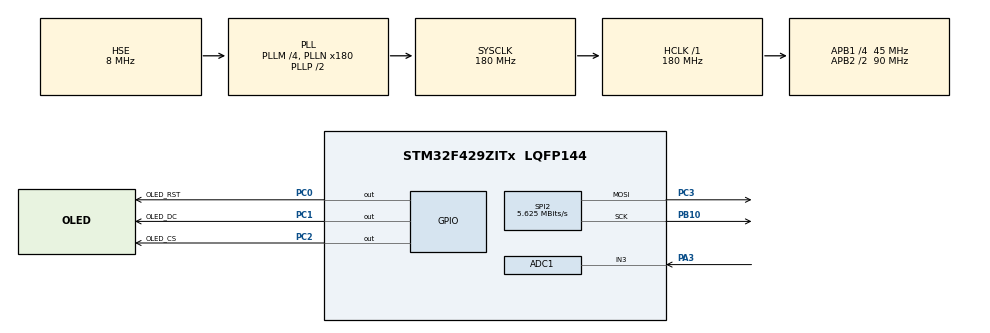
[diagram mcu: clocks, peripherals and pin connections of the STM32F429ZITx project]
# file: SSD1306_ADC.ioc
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ADC1.Channel-0\#ChannelRegularConversion=ADC_CHANNEL_3
ADC1.DiscontinuousConvMode=ENABLE
ADC1.NbrOfConversionFlag=1
ADC1.Rank-0\#ChannelRegularConversion=1
ADC1.SamplingTime-0\#ChannelRegularConversion=ADC_SAMPLETIME_3CYCLES
ADC1.ScanConvMode=ENABLE
ADC1.master=1
Mcu.Family=STM32F4
Mcu.Name=STM32F429ZITx
Mcu.Package=LQFP144
NVIC.PriorityGroup=NVIC_PRIORITYGROUP_4
PA3.Signal=ADCx_IN3
PB10.Mode=TX_Only_Simplex_Unidirect_Master
PB10.Signal=SPI2_SCK
PC0.GPIO_Label=OLED_RST
PC0.GPIO_PuPd=GPIO_PULLUP
PC0.GPIO_Speed=GPIO_SPEED_FREQ_HIGH
PC0.PinState=GPIO_PIN_SET
PC0.Signal=GPIO_Output
PC1.GPIO_Label=OLED_DC
PC1.GPIO_PuPd=GPIO_PULLUP
PC1.GPIO_Speed=GPIO_SPEED_FREQ_HIGH
PC1.PinState=GPIO_PIN_SET
PC1.Signal=GPIO_Output
PC2.GPIO_Label=OLED_CS
PC2.GPIO_PuPd=GPIO_PULLUP
PC2.GPIO_Speed=GPIO_SPEED_FREQ_HIGH
PC2.PinState=GPIO_PIN_SET
PC2.Signal=GPIO_Output
PC3.Mode=TX_Only_Simplex_Unidirect_Master
PC3.Signal=SPI2_MOSI
PH0/OSC_IN.Mode=HSE-External-Oscillator
PH0/OSC_IN.Signal=RCC_OSC_IN
PH1/OSC_OUT.Mode=HSE-External-Oscillator
PH1/OSC_OUT.Signal=RCC_OSC_OUT
ProjectManager.HeapSize=0x200
ProjectManager.StackSize=0x400
ProjectManager.TargetToolchain=STM32CubeIDE
RCC.48MHZClocksFreq_Value=90000000
RCC.AHBFreq_Value=180000000
RCC.APB1CLKDivider=RCC_HCLK_DIV4
RCC.APB1Freq_Value=45000000
RCC.APB1TimFreq_Value=90000000
RCC.APB2CLKDivider=RCC_HCLK_DIV2
RCC.APB2Freq_Value=90000000
RCC.APB2TimFreq_Value=180000000
RCC.CortexFreq_Value=180000000
RCC.HCLKFreq_Value=180000000
RCC.HSE_VALUE=8000000
RCC.HSI_VALUE=16000000
RCC.LSE_VALUE=32768
RCC.PLLM=4
RCC.PLLN=180
RCC.PLLSourceVirtual=RCC_PLLSOURCE_HSE
RCC.SYSCLKFreq_VALUE=180000000
RCC.SYSCLKSource=RCC_SYSCLKSOURCE_PLLCLK
RCC.VCOOutputFreq_Value=360000000
SH.ADCx_IN3.0=ADC1_IN3,IN3
SPI2.BaudRatePrescaler=SPI_BAUDRATEPRESCALER_8
SPI2.CalculateBaudRate=5.625 MBits/s
SPI2.Direction=SPI_DIRECTION_2LINES
SPI2.Mode=SPI_MODE_MASTER
SPI2.VirtualType=VM_MASTER
board=custom

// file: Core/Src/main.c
/* USER CODE BEGIN Header */
/**
  ******************************************************************************
  * @file           : main.c
  * @brief          : Main program body
  ******************************************************************************
  * @attention
  *
  * Copyright (c) 2023 STMicroelectronics.
  * All rights reserved.
  *
  * This software is licensed under terms that can be found in the LICENSE file
  * in the root directory of this software component.
  * If no LICENSE file comes with this software, it is provided AS-IS.
  *
  ******************************************************************************
  */
/* USER CODE END Header */
#include "main.h"

/* USER CODE BEGIN Includes */
#include "stm32f4xx_hal.h"

#include "u8g2.h"

#include "stdio.h"
#include "string.h"
#include "stdlib.h"
/* USER CODE END Includes */

ADC_HandleTypeDef hadc1;

SPI_HandleTypeDef hspi2;

/* USER CODE BEGIN PV */
typedef struct _point
  {
	  int x;
	  int y;
  }Point;

  Point point[128];
  float adcVal=0;
  int i=1;
  uint8_t buffer[5];

/* USER CODE END PV */

void SystemClock_Config(void);
static void MX_GPIO_Init(void);
static void MX_ADC1_Init(void);
static void MX_SPI2_Init(void);

/* USER CODE BEGIN 0 */
extern uint8_t u8x8_stm32_gpio_and_delay(u8x8_t *u8x8, uint8_t msg, uint8_t arg_int, void *arg_ptr);
extern uint8_t u8x8_byte_stm32_hw_spi(u8x8_t *u8x8, uint8_t msg, uint8_t arg_int, void *arg_ptr);

static u8g2_t u8g2;
/* USER CODE END 0 */

int main(void)
{

  /* MCU Configuration--------------------------------------------------------*/

  /* Reset of all peripherals, Initializes the Flash interface and the Systick. */
  HAL_Init();

  /* Configure the system clock */
  SystemClock_Config();

  /* Initialize all configured peripherals */
  MX_GPIO_Init();
  MX_ADC1_Init();
  MX_SPI2_Init();
  /* USER CODE BEGIN 2 */
  u8g2_Setup_ssd1306_128x64_noname_f(&u8g2, U8G2_R0, u8x8_byte_stm32_hw_spi, u8x8_stm32_gpio_and_delay);

   u8g2_InitDisplay(&u8g2);
   u8g2_SetPowerSave(&u8g2, 0);
  /* USER CODE END 2 */

  /* Infinite loop */
   point[0].x=0;
     point[0].y=127;
  /* USER CODE BEGIN WHILE */
  while (1)
  {
	  u8g2_FirstPage(&u8g2);
	  point[0].x=0;
	  point[0].y=point[127].y;

	  do{
		  HAL_ADC_Start(&hadc1);
		  HAL_ADC_PollForConversion(&hadc1,HAL_MAX_DELAY);
		  adcVal = HAL_ADC_GetValue(&hadc1);

		  float voltage_y=adcVal*3.3/4096.0;
		  int char_y=100.0*voltage_y;
		  int hundred_y=char_y/100;
		  int ten_y=char_y/10-(hundred_y*10);
		  int one_y=char_y-hundred_y*100-ten_y*10;

		  buffer[0]='0'+hundred_y;
		  buffer[1]='.';
		  buffer[2]='0'+ten_y;
		  buffer[3]='0'+one_y;

		  u8g2_SetFont(&u8g2,u8g2_font_5x7_tr);
		  u8g2_DrawStrX2(&u8g2,0,15,buffer);

		  int pixel_y=(int)adcVal*64/4096;
		  point[i].x=i;
		  point[i].y=64-pixel_y;

		  for(int j=0;j<i;j++)
		  {
		  	  u8g2_DrawLine(&u8g2,point[j].x,point[j].y,point[j+1].x,point[j+1].y);
		  }
		  i++;

		  if(i==128)
		 	  	  {
		 	  		  i=0;
		 	  		  break;
		 	  	  }

	  }while(u8g2_NextPage(&u8g2));
    /* USER CODE END WHILE */

  }
}

void SystemClock_Config(void)
{
  RCC_OscInitTypeDef RCC_OscInitStruct = {0};
  RCC_ClkInitTypeDef RCC_ClkInitStruct = {0};

  /** Configure the main internal regulator output voltage
  */
  __HAL_RCC_PWR_CLK_ENABLE();
  __HAL_PWR_VOLTAGESCALING_CONFIG(PWR_REGULATOR_VOLTAGE_SCALE1);

  /** Initializes the RCC Oscillators according to the specified parameters
  * in the RCC_OscInitTypeDef structure.
  */
  RCC_OscInitStruct.OscillatorType = RCC_OSCILLATORTYPE_HSE;
  RCC_OscInitStruct.HSEState = RCC_HSE_ON;
  RCC_OscInitStruct.PLL.PLLState = RCC_PLL_ON;
  RCC_OscInitStruct.PLL.PLLSource = RCC_PLLSOURCE_HSE;
  RCC_OscInitStruct.PLL.PLLM = 4;
  RCC_OscInitStruct.PLL.PLLN = 180;
  RCC_OscInitStruct.PLL.PLLP = RCC_PLLP_DIV2;
  RCC_OscInitStruct.PLL.PLLQ = 4;
  if (HAL_RCC_OscConfig(&RCC_OscInitStruct) != HAL_OK)
  {
    Error_Handler();
  }

  /** Activate the Over-Drive mode
  */
  if (HAL_PWREx_EnableOverDrive() != HAL_OK)
  {
    Error_Handler();
  }

  /** Initializes the CPU, AHB and APB buses clocks
  */
  RCC_ClkInitStruct.ClockType = RCC_CLOCKTYPE_HCLK|RCC_CLOCKTYPE_SYSCLK
                              |RCC_CLOCKTYPE_PCLK1|RCC_CLOCKTYPE_PCLK2;
  RCC_ClkInitStruct.SYSCLKSource = RCC_SYSCLKSOURCE_PLLCLK;
  RCC_ClkInitStruct.AHBCLKDivider = RCC_SYSCLK_DIV1;
  RCC_ClkInitStruct.APB1CLKDivider = RCC_HCLK_DIV4;
  RCC_ClkInitStruct.APB2CLKDivider = RCC_HCLK_DIV2;

  if (HAL_RCC_ClockConfig(&RCC_ClkInitStruct, FLASH_LATENCY_5) != HAL_OK)
  {
    Error_Handler();
  }
}

static void MX_ADC1_Init(void)
{

  ADC_ChannelConfTypeDef sConfig = {0};

  /** Configure the global features of the ADC (Clock, Resolution, Data Alignment and number of conversion)
  */
  hadc1.Instance = ADC1;
  hadc1.Init.ClockPrescaler = ADC_CLOCK_SYNC_PCLK_DIV4;
  hadc1.Init.Resolution = ADC_RESOLUTION_12B;
  hadc1.Init.ScanConvMode = ENABLE;
  hadc1.Init.ContinuousConvMode = DISABLE;
  hadc1.Init.DiscontinuousConvMode = ENABLE;
  hadc1.Init.NbrOfDiscConversion = 1;
  hadc1.Init.ExternalTrigConvEdge = ADC_EXTERNALTRIGCONVEDGE_NONE;
  hadc1.Init.ExternalTrigConv = ADC_SOFTWARE_START;
  hadc1.Init.DataAlign = ADC_DATAALIGN_RIGHT;
  hadc1.Init.NbrOfConversion = 1;
  hadc1.Init.DMAContinuousRequests = DISABLE;
  hadc1.Init.EOCSelection = ADC_EOC_SINGLE_CONV;
  if (HAL_ADC_Init(&hadc1) != HAL_OK)
  {
    Error_Handler();
  }

  /** Configure for the selected ADC regular channel its corresponding rank in the sequencer and its sample time.
  */
  sConfig.Channel = ADC_CHANNEL_3;
  sConfig.Rank = 1;
  sConfig.SamplingTime = ADC_SAMPLETIME_3CYCLES;
  if (HAL_ADC_ConfigChannel(&hadc1, &sConfig) != HAL_OK)
  {
    Error_Handler();
  }

}

static void MX_SPI2_Init(void)
{

  /* SPI2 parameter configuration*/
  hspi2.Instance = SPI2;
  hspi2.Init.Mode = SPI_MODE_MASTER;
  hspi2.Init.Direction = SPI_DIRECTION_2LINES;
  hspi2.Init.DataSize = SPI_DATASIZE_8BIT;
  hspi2.Init.CLKPolarity = SPI_POLARITY_LOW;
  hspi2.Init.CLKPhase = SPI_PHASE_1EDGE;
  hspi2.Init.NSS = SPI_NSS_SOFT;
  hspi2.Init.BaudRatePrescaler = SPI_BAUDRATEPRESCALER_8;
  hspi2.Init.FirstBit = SPI_FIRSTBIT_MSB;
  hspi2.Init.TIMode = SPI_TIMODE_DISABLE;
  hspi2.Init.CRCCalculation = SPI_CRCCALCULATION_DISABLE;
  hspi2.Init.CRCPolynomial = 10;
  if (HAL_SPI_Init(&hspi2) != HAL_OK)
  {
    Error_Handler();
  }

}

static void MX_GPIO_Init(void)
{
  GPIO_InitTypeDef GPIO_InitStruct = {0};

  /* GPIO Ports Clock Enable */
  __HAL_RCC_GPIOH_CLK_ENABLE();
  __HAL_RCC_GPIOC_CLK_ENABLE();
  __HAL_RCC_GPIOA_CLK_ENABLE();
  __HAL_RCC_GPIOB_CLK_ENABLE();

  /*Configure GPIO pin Output Level */
  HAL_GPIO_WritePin(GPIOC, OLED_RST_Pin|OLED_DC_Pin|OLED_CS_Pin, GPIO_PIN_SET);

  /*Configure GPIO pins : OLED_RST_Pin OLED_DC_Pin OLED_CS_Pin */
  GPIO_InitStruct.Pin = OLED_RST_Pin|OLED_DC_Pin|OLED_CS_Pin;
  GPIO_InitStruct.Mode = GPIO_MODE_OUTPUT_PP;
  GPIO_InitStruct.Pull = GPIO_PULLUP;
  GPIO_InitStruct.Speed = GPIO_SPEED_FREQ_HIGH;
  HAL_GPIO_Init(GPIOC, &GPIO_InitStruct);

}

void Error_Handler(void)
{
  __disable_irq();
  while (1)
  {
  }
}
